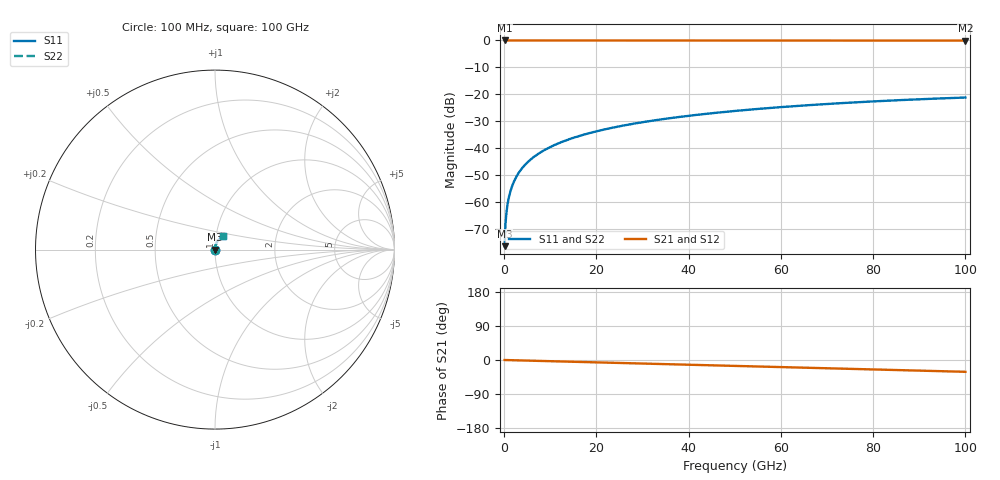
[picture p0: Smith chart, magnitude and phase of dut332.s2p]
! Touchstone file exported from HFSS 2026.1.0
!  File:  C:/ffzhzh/LocalFiles/Ansys_Project_Files/temp_train_TSV_332_1783509683_44152.aedt
!  Generated:  07:22:37 PM Jul  8, 2026
!  Design:  TSV
!  Project:  temp_train_TSV_332_1783509683_44152
! Variables:
!  h_bsmrdl = 2um
!  h_ox = 20um
!  h_rdl = 5um
!  h_sub = 54.16um
!  h_tmrdl = 5um
!  h_tsv = 54.16um
!  h_via = 3um
!  l_bsmrdl = 300um
!  l_sub = 424.38um
!  l_tmrdl = 200um
!  m_sub = 200um
!  pitch = 59.2um
!  r_tsv = 12.19um
!  s_tmrdl = 10um
!  w_bsmrdl = 18um
!  w_sub = 500um
!  w_tmrdl = 12um
!  x_tsv_center1 = 206um
!  x_tsv_center2 = 524um
!  x_tsv_center3 = 736um
!  x_tsv_center4 = 1054um
!  x_tsv_center5 = 1266um
!  x_tsv_center6 = 1584um
# GHz S MA R 50.000000
! Terminal data exported
! Port[1] = TSV1_1_T1
! Port[2] = TSV1_1_T2
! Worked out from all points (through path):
!   1000 points, 100 MHz to 100 GHz, reference 50 ohm
!   highest |S21| = 0.00 dB at 100 MHz (marker M1); lowest = -0.1 dB at 100 GHz (marker M2)
!   group delay of S21, straight-line fit = 864 fs
!   lowest |S11| = -76.6 dB at 100 MHz (marker M3), VSWR 1.00, Z = 50 + j0.013 ohm
!   |S11| at or under -10 dB: start of sweep to end of sweep
!   |S22| runs from -76.6 to -21.2 dB; largest |S21 - S12| = 1.8e-15
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0.1  0.0001486 61.4  0.9999 -0.0  0.9999 -0.0  0.0001486 61.4
! Gamma 0 0 0 0
! Port Impedance 50 0 50 0
0.3  0.0003928 76.2  0.9999 -0.1  0.9999 -0.1  0.0003928 76.2
0.7  0.0008496 79.8  0.9999 -0.2  0.9999 -0.2  0.0008496 79.8
0.8  0.0009583 80.2  0.9998 -0.3  0.9998 -0.3  0.0009583 80.2
1  0.001173 81.0  0.9998 -0.3  0.9998 -0.3  0.001173 81.0
1.3  0.001493 81.8  0.9998 -0.4  0.9998 -0.4  0.001493 81.8
1.8  0.002022 82.8  0.9998 -0.6  0.9998 -0.6  0.002022 82.8
2.3  0.002547 83.3  0.9997 -0.7  0.9997 -0.7  0.002547 83.3
3  0.003276 83.7  0.9997 -0.9  0.9997 -0.9  0.003276 83.7
3.8  0.004102 84.0  0.9996 -1.2  0.9996 -1.2  0.004102 84.0
4.8  0.005127 84.2  0.9996 -1.5  0.9996 -1.5  0.005127 84.2
6  0.006351 84.2  0.9995 -1.9  0.9995 -1.9  0.006351 84.2
8.8  0.009191 84.0  0.9994 -2.8  0.9994 -2.8  0.009191 84.0
12.4  0.01281 83.3  0.9993 -3.9  0.9993 -3.9  0.01281 83.3
16.8  0.0172 82.3  0.9991 -5.2  0.9991 -5.2  0.0172 82.3
24.2  0.02449 80.4  0.9988 -7.5  0.9988 -7.5  0.02449 80.4
33.4  0.03338 77.8  0.9984 -10.4  0.9984 -10.4  0.03338 77.9
41.2  0.04072 75.6  0.998 -12.8  0.998 -12.8  0.04072 75.6
50.1  0.04883 73.0  0.9975 -15.6  0.9975 -15.6  0.04883 73.0
66.7  0.06306 68.0  0.9965 -20.7  0.9965 -20.7  0.06306 68.0
83.4  0.07588 62.9  0.9954 -26.0  0.9954 -26.0  0.07588 63.0
100  0.08671 57.9  0.9942 -31.2  0.9942 -31.2  0.08671 57.9
